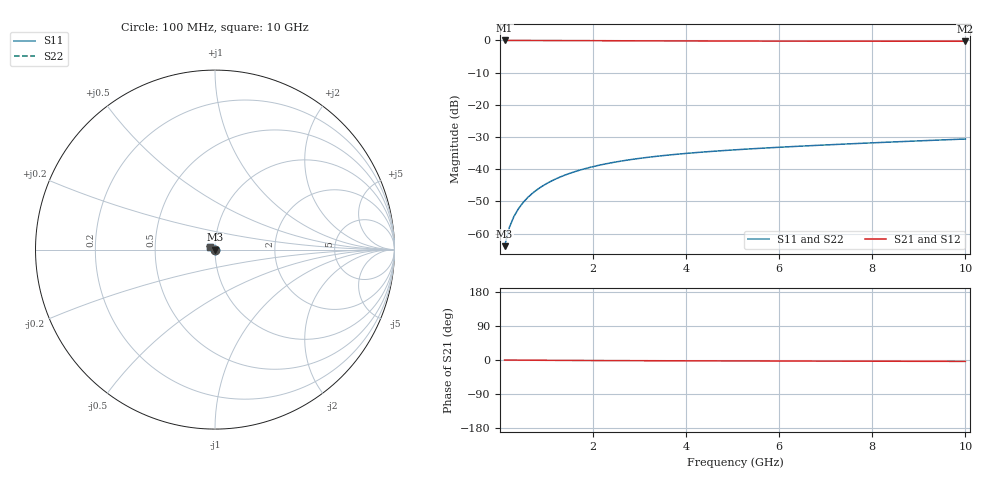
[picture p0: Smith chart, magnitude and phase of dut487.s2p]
! Touchstone file exported from HFSS 2024.1.0
!  File:  C:/UserFiles/LocalFiles/RDL_TSV_Batchsim/temp_TSV1_487_1779700184.aedt
!  Generated:  05:17:11 PM May 25, 2026
!  Design:  TSV1
!  Project:  temp_TSV1_487_1779700184
!  Setup:  Setup1
!  Solution:  Sweep
! Variables:
!  dtsv = 8.09um
!  hbump = 3um
!  htsv = 51.81um
!  lrdl = 252.1521522um
!  p = 40
!  p1 = 54.86um
!  t = 500um
!  trdl = 3um
!  wrdl = 24.89489489um
# GHz S MA R 50.000000
! Terminal data exported
! Port[1] = TSV22_T1
! Port[2] = TSV22_T2
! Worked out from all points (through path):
!   100 points, 100 MHz to 10 GHz, reference 50 ohm
!   highest |S21| = 0.00 dB at 100 MHz (marker M1); lowest = -0.3 dB at 10 GHz (marker M2)
!   lowest |S11| = -63.9 dB at 100 MHz (marker M3), VSWR 1.00, Z = 50 - j0.062 ohm
!   |S11| at or under -10 dB: start of sweep to end of sweep
!   |S22| runs from -63.9 to -30.6 dB; largest |S21 - S12| = 4.1e-15
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0.1  0.0006376 -76.6  0.9998 -0.1  0.9998 -0.1  0.0006376 -76.6
! Gamma 0 0 0 0
! Port Impedance 50 0 50 0
0.2  0.001238 -86.6  0.9997 -0.2  0.9997 -0.2  0.001238 -86.6
0.3  0.001845 -91.6  0.9996 -0.2  0.9996 -0.2  0.001845 -91.6
0.4  0.002451 -95.2  0.9994 -0.3  0.9994 -0.3  0.002451 -95.2
0.5  0.003053 -98.3  0.9992 -0.4  0.9992 -0.4  0.003053 -98.3
0.6  0.003651 -101.1  0.9989 -0.5  0.9989 -0.5  0.003651 -101.1
0.7  0.004242 -103.7  0.9986 -0.6  0.9986 -0.6  0.004242 -103.7
0.8  0.004826 -106.2  0.9982 -0.6  0.9982 -0.6  0.004826 -106.2
0.9  0.005401 -108.6  0.9978 -0.7  0.9978 -0.7  0.005401 -108.6
1.1  0.006523 -113.2  0.9969 -0.9  0.9969 -0.9  0.006523 -113.2
1.4  0.008119 -119.7  0.9954 -1.1  0.9954 -1.1  0.008119 -119.7
1.6  0.009121 -123.8  0.9944 -1.2  0.9944 -1.2  0.009121 -123.8
1.8  0.01007 -127.7  0.9933 -1.3  0.9933 -1.3  0.01007 -127.7
2.1  0.0114 -133.3  0.9916 -1.4  0.9916 -1.4  0.0114 -133.3
2.5  0.01299 -140.3  0.9894 -1.6  0.9894 -1.6  0.01299 -140.3
2.9  0.01441 -146.7  0.9873 -1.8  0.9873 -1.8  0.01441 -146.7
3.4  0.01597 -154.0  0.9849 -2.0  0.9849 -2.0  0.01597 -154.0
4.2  0.01808 -164.3  0.9817 -2.2  0.9817 -2.2  0.01808 -164.3
5.1  0.02011 -174.1  0.9789 -2.4  0.9789 -2.4  0.02011 -174.1
6.7  0.02326 171.8  0.9754 -2.8  0.9754 -2.8  0.02326 171.8
8.4  0.02642 160.1  0.9731 -3.3  0.9731 -3.3  0.02642 160.1
10  0.02946 151.3  0.9715 -3.7  0.9715 -3.7  0.02946 151.3
